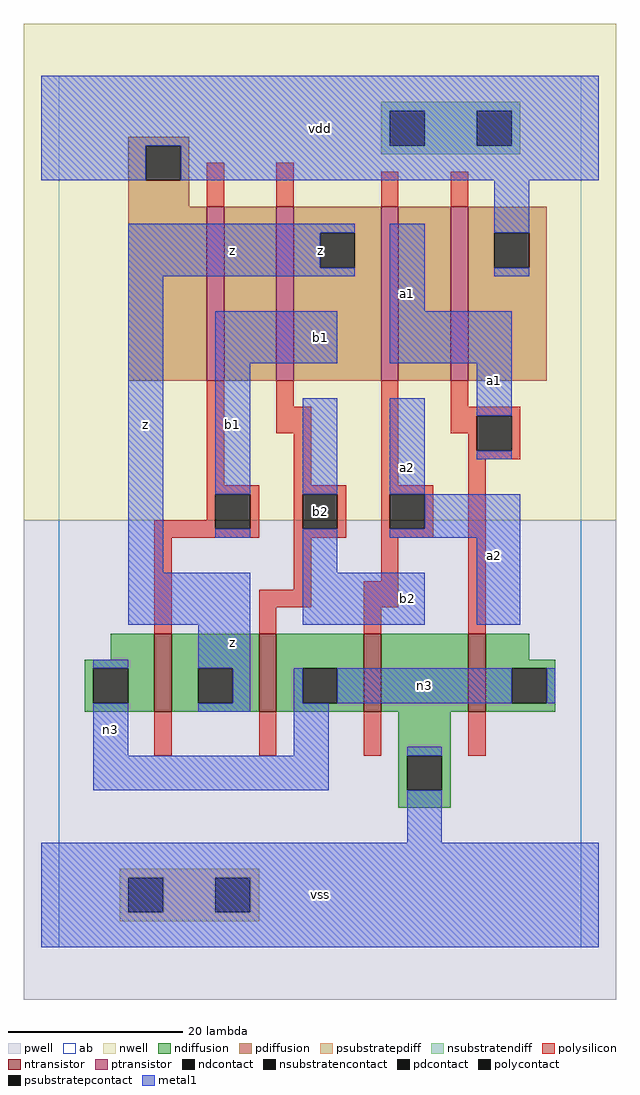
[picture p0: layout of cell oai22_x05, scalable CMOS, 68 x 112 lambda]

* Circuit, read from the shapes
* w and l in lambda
.subckt oai22_x05 a1 a2 b1 b2 n3 vdd vss z
M1 z b1 n3 vss nfet w=9 l=2
M2 n3 b2 z vss nfet w=9 l=2
M3 vss a2 n3 vss nfet w=9 l=2
M4 n3 a1 vss vss nfet w=9 l=2
M5 n1 b1 vdd vdd pfet w=20 l=2
M6 z b2 n1 vdd pfet w=20 l=2
M7 n2 a2 z vdd pfet w=20 l=2
M8 vdd a1 n2 vdd pfet w=20 l=2
.ends

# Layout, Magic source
magic
tech scmos
<< ab >>
rect 0 0 60 100
<< pwell >>
rect -4 -6 64 49
<< nwell >>
rect -4 49 64 106
<< polysilicon >>
rect 17 85 19 90
rect 25 85 27 90
rect 37 85 39 89
rect 45 85 47 89
rect 17 53 19 65
rect 25 62 27 65
rect 25 59 29 62
rect 27 53 29 59
rect 37 53 39 65
rect 45 62 47 65
rect 45 61 53 62
rect 45 59 48 61
rect 47 57 48 59
rect 52 57 53 61
rect 47 56 53 57
rect 17 52 23 53
rect 17 49 18 52
rect 11 48 18 49
rect 22 48 23 52
rect 11 47 23 48
rect 27 52 33 53
rect 27 48 28 52
rect 32 48 33 52
rect 27 47 33 48
rect 37 52 43 53
rect 37 48 38 52
rect 42 48 43 52
rect 37 47 43 48
rect 11 36 13 47
rect 27 41 29 47
rect 37 42 39 47
rect 23 39 29 41
rect 35 39 39 42
rect 23 36 25 39
rect 35 36 37 39
rect 47 36 49 56
rect 11 22 13 27
rect 23 22 25 27
rect 35 22 37 27
rect 47 22 49 27
<< ndiffusion >>
rect 6 33 11 36
rect 3 32 11 33
rect 3 28 4 32
rect 8 28 11 32
rect 3 27 11 28
rect 13 32 23 36
rect 13 28 16 32
rect 20 28 23 32
rect 13 27 23 28
rect 25 32 35 36
rect 25 28 28 32
rect 32 28 35 32
rect 25 27 35 28
rect 37 27 47 36
rect 49 33 54 36
rect 49 32 57 33
rect 49 28 52 32
rect 56 28 57 32
rect 49 27 57 28
rect 39 22 45 27
rect 39 18 40 22
rect 44 18 45 22
rect 39 16 45 18
<< pdiffusion >>
rect 8 92 15 93
rect 8 88 10 92
rect 14 88 15 92
rect 8 85 15 88
rect 8 65 17 85
rect 19 65 25 85
rect 27 82 37 85
rect 27 78 30 82
rect 34 78 37 82
rect 27 65 37 78
rect 39 65 45 85
rect 47 82 56 85
rect 47 78 50 82
rect 54 78 56 82
rect 47 65 56 78
<< metal1 >>
rect -2 92 62 100
rect -2 88 10 92
rect 14 88 62 92
rect 8 82 34 83
rect 8 78 30 82
rect 8 77 34 78
rect 8 43 12 77
rect 38 73 42 83
rect 50 82 54 88
rect 50 77 54 78
rect 18 67 32 73
rect 38 67 52 73
rect 18 52 22 67
rect 18 47 22 48
rect 28 52 32 63
rect 28 43 32 48
rect 38 52 42 63
rect 48 61 52 67
rect 48 56 52 57
rect 42 48 53 52
rect 38 47 53 48
rect 8 37 22 43
rect 28 37 42 43
rect 48 37 53 47
rect 4 32 8 33
rect 4 22 8 28
rect 16 32 22 37
rect 20 28 22 32
rect 16 27 22 28
rect 27 28 28 32
rect 32 28 52 32
rect 56 28 57 32
rect 27 22 31 28
rect 4 18 31 22
rect 40 22 44 23
rect 40 12 44 18
rect -2 0 62 12
<< ntransistor >>
rect 11 27 13 36
rect 23 27 25 36
rect 35 27 37 36
rect 47 27 49 36
<< ptransistor >>
rect 17 65 19 85
rect 25 65 27 85
rect 37 65 39 85
rect 45 65 47 85
<< polycontact >>
rect 48 57 52 61
rect 18 48 22 52
rect 28 48 32 52
rect 38 48 42 52
<< ndcontact >>
rect 4 28 8 32
rect 16 28 20 32
rect 28 28 32 32
rect 52 28 56 32
rect 40 18 44 22
<< pdcontact >>
rect 10 88 14 92
rect 30 78 34 82
rect 50 78 54 82
<< psubstratepcontact >>
rect 8 4 12 8
rect 18 4 22 8
<< nsubstratencontact >>
rect 38 92 42 96
rect 48 92 52 96
<< psubstratepdiff >>
rect 7 8 23 9
rect 7 4 8 8
rect 12 4 18 8
rect 22 4 23 8
rect 7 3 23 4
<< nsubstratendiff >>
rect 37 96 53 97
rect 37 92 38 96
rect 42 92 48 96
rect 52 92 53 96
rect 37 91 53 92
<< labels >>
rlabel metal1 6 25 6 25 6 n3
rlabel metal1 20 35 20 35 6 z
rlabel metal1 20 35 20 35 6 z
rlabel metal1 20 60 20 60 6 b1
rlabel metal1 20 60 20 60 6 b1
rlabel metal1 10 60 10 60 6 z
rlabel metal1 10 60 10 60 6 z
rlabel metal1 20 80 20 80 6 z
rlabel metal1 20 80 20 80 6 z
rlabel metal1 30 6 30 6 6 vss
rlabel metal1 30 6 30 6 6 vss
rlabel polycontact 30 50 30 50 6 b2
rlabel polycontact 30 50 30 50 6 b2
rlabel metal1 30 70 30 70 6 b1
rlabel metal1 30 70 30 70 6 b1
rlabel metal1 30 80 30 80 6 z
rlabel metal1 30 80 30 80 6 z
rlabel metal1 30 94 30 94 6 vdd
rlabel metal1 30 94 30 94 6 vdd
rlabel metal1 40 40 40 40 6 b2
rlabel metal1 40 40 40 40 6 b2
rlabel metal1 40 55 40 55 6 a2
rlabel metal1 40 55 40 55 6 a2
rlabel metal1 40 75 40 75 6 a1
rlabel metal1 40 75 40 75 6 a1
rlabel metal1 42 30 42 30 6 n3
rlabel metal1 50 45 50 45 6 a2
rlabel metal1 50 45 50 45 6 a2
rlabel metal1 50 65 50 65 6 a1
rlabel metal1 50 65 50 65 6 a1
<< end >>
